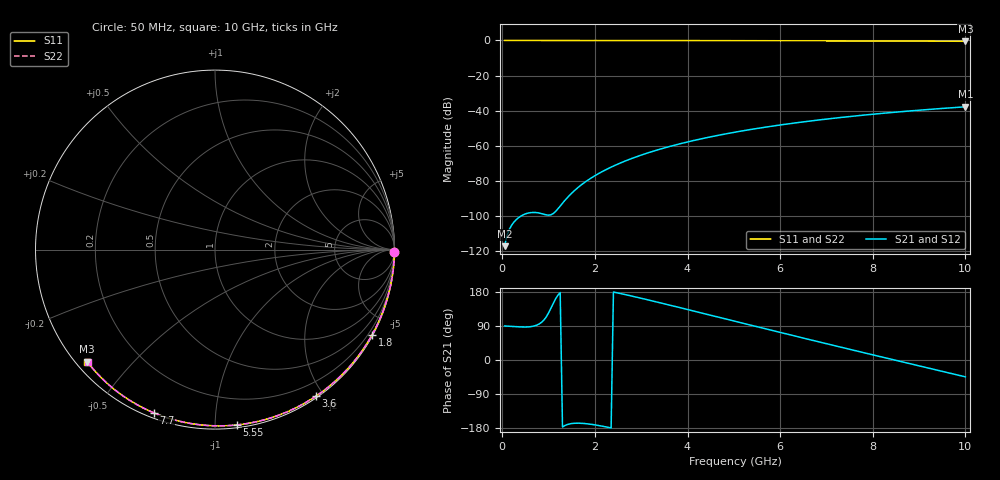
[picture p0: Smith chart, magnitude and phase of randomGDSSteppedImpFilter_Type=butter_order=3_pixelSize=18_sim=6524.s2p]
! freq	dB(S11)	phase(S11)	dB(S12)	phase(S12)
!  dB(S21)	phase(S21)	dB(S22)	phase(S22)
!S-par simulation data
#  GHz  S  DB  R 50
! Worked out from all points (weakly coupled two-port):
!   200 points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, 50 MHz to 10 GHz, reference 50 ohm
!   highest |S21| = -37.87 dB at 10 GHz (marker M1); lowest = -117.4 dB at 50 MHz (marker M2)
!   lowest |S11| = -0.5 dB at 10 GHz (marker M3), VSWR 36.83, Z = 1.55 - j18.8 ohm
!   |S11| at or under -10 dB: nowhere
!   |S22| runs from -0.5 to 0.0 dB; largest |S21 - S12| = 0
!   S11 on the Smith chart (normalised r, x): 50 MHz: open; 1.8 GHz: 0.03, -3.94; 3.6 GHz: 0.02, -1.90; 5.55 GHz: 0.02, -1.13; 7.7 GHz: 0.02, -0.69; 10 GHz: 0.03, -0.38
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0.05  -0.00 -0.8  -117.40 89.7  -117.40 89.7  -0.00 -0.8
0.45  -0.01 -7.2  -99.54 87.1  -99.54 87.1  -0.01 -7.2
0.9  -0.02 -14.4  -99.21 105.8  -99.21 105.8  -0.02 -14.3
1.75  -0.04 -27.7  -81.54 -167.4  -81.54 -167.4  -0.04 -27.6
1.8  -0.04 -28.4  -80.59 -167.9  -80.59 -167.9  -0.04 -28.4
1.85  -0.04 -29.2  -79.68 -168.6  -79.68 -168.6  -0.04 -29.2
2.05  -0.04 -32.3  -76.40 -172.2  -76.40 -172.2  -0.04 -32.3
2.25  -0.05 -35.4  -73.57 -176.8  -73.57 -176.8  -0.05 -35.3
2.55  -0.05 -39.9  -69.93 175.5  -69.93 175.5  -0.05 -39.9
2.95  -0.06 -46.0  -65.88 164.4  -65.88 164.4  -0.06 -45.9
3.4  -0.07 -52.6  -62.09 151.2  -62.09 151.2  -0.07 -52.6
3.6  -0.07 -55.6  -60.60 145.2  -60.60 145.2  -0.07 -55.5
3.9  -0.08 -59.9  -58.56 136.3  -58.56 136.3  -0.08 -59.8
4.3  -0.09 -65.6  -56.12 124.2  -56.12 124.2  -0.09 -65.5
5.05  -0.12 -76.1  -52.22 101.5  -52.22 101.5  -0.12 -76.0
5.55  -0.14 -82.9  -50.02 86.4  -50.02 86.4  -0.14 -82.8
6.1  -0.16 -90.2  -47.87 69.8  -47.87 69.8  -0.16 -90.1
6.7  -0.19 -98.0  -45.81 51.9  -45.81 51.9  -0.19 -97.9
7.7  -0.25 -110.7  -42.88 22.4  -42.88 22.4  -0.25 -110.5
8.35  -0.30 -118.7  -41.25 3.4  -41.25 3.4  -0.30 -118.5
9.2  -0.38 -129.0  -39.38 -21.3  -39.38 -21.3  -0.38 -128.9
10  -0.47 -138.7  -37.87 -44.5  -37.87 -44.5  -0.47 -138.5
